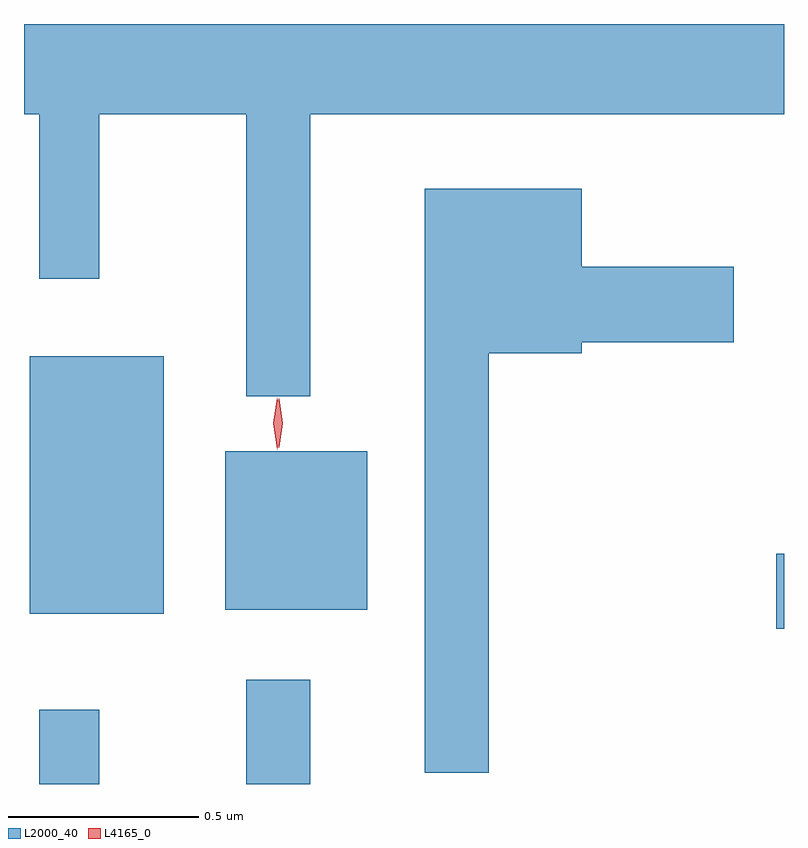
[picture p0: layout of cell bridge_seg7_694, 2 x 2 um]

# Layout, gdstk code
import gdstk
lib = gdstk.Library(unit=1e-6, precision=1e-09)
def R(c, l, rs):  # rectangles x0, y0, x1, y1
    for r in rs: c.add(gdstk.rectangle(r[:2], r[2:], *l))
def P(c, l, *ps):  # polygons
    for p in ps: c.add(gdstk.Polygon(p, *l))
L2000_40 = (2000, 40)
L4165_0 = (4165, 0)

bridge_seg7_694 = lib.new_cell('bridge_seg7_694')
R(bridge_seg7_694, L2000_40, [(976.636,1721.433,976.794,1721.628), (977.181,1721.433,977.349,1721.708), (978.576,1721.841,978.596,1722.039), (976.611,1721.881,976.964,1722.559), (977.126,1721.891,977.499,1722.309)])
P(bridge_seg7_694, L2000_40, [(976.596,1723.196),(976.636,1723.196),(976.636,1722.763),(976.794,1722.763),(976.794,1723.196),(977.181,1723.196),(977.181,1722.453),(977.349,1722.453),(977.349,1723.196),(978.596,1723.196),(978.596,1723.433),(976.596,1723.433)],
  [(977.819,1722.566),(978.064,1722.566),(978.064,1722.596),(978.464,1722.596),(978.464,1722.794),(978.064,1722.794),(978.064,1722.999),(977.651,1722.999),(977.651,1721.463),(977.819,1721.463)])
P(bridge_seg7_694, L4165_0, [(977.262,1722.313),(977.262,1722.314),(977.252,1722.382),(977.262,1722.45),(977.262,1722.45),(977.263,1722.45),(977.272,1722.382),(977.263,1722.314)],
  [(977.267,1722.318),(977.267,1722.319),(977.257,1722.383),(977.267,1722.447),(977.267,1722.447),(977.268,1722.447),(977.277,1722.383),(977.268,1722.319)])

lib.write_gds('bridge_seg7_694.gds')
